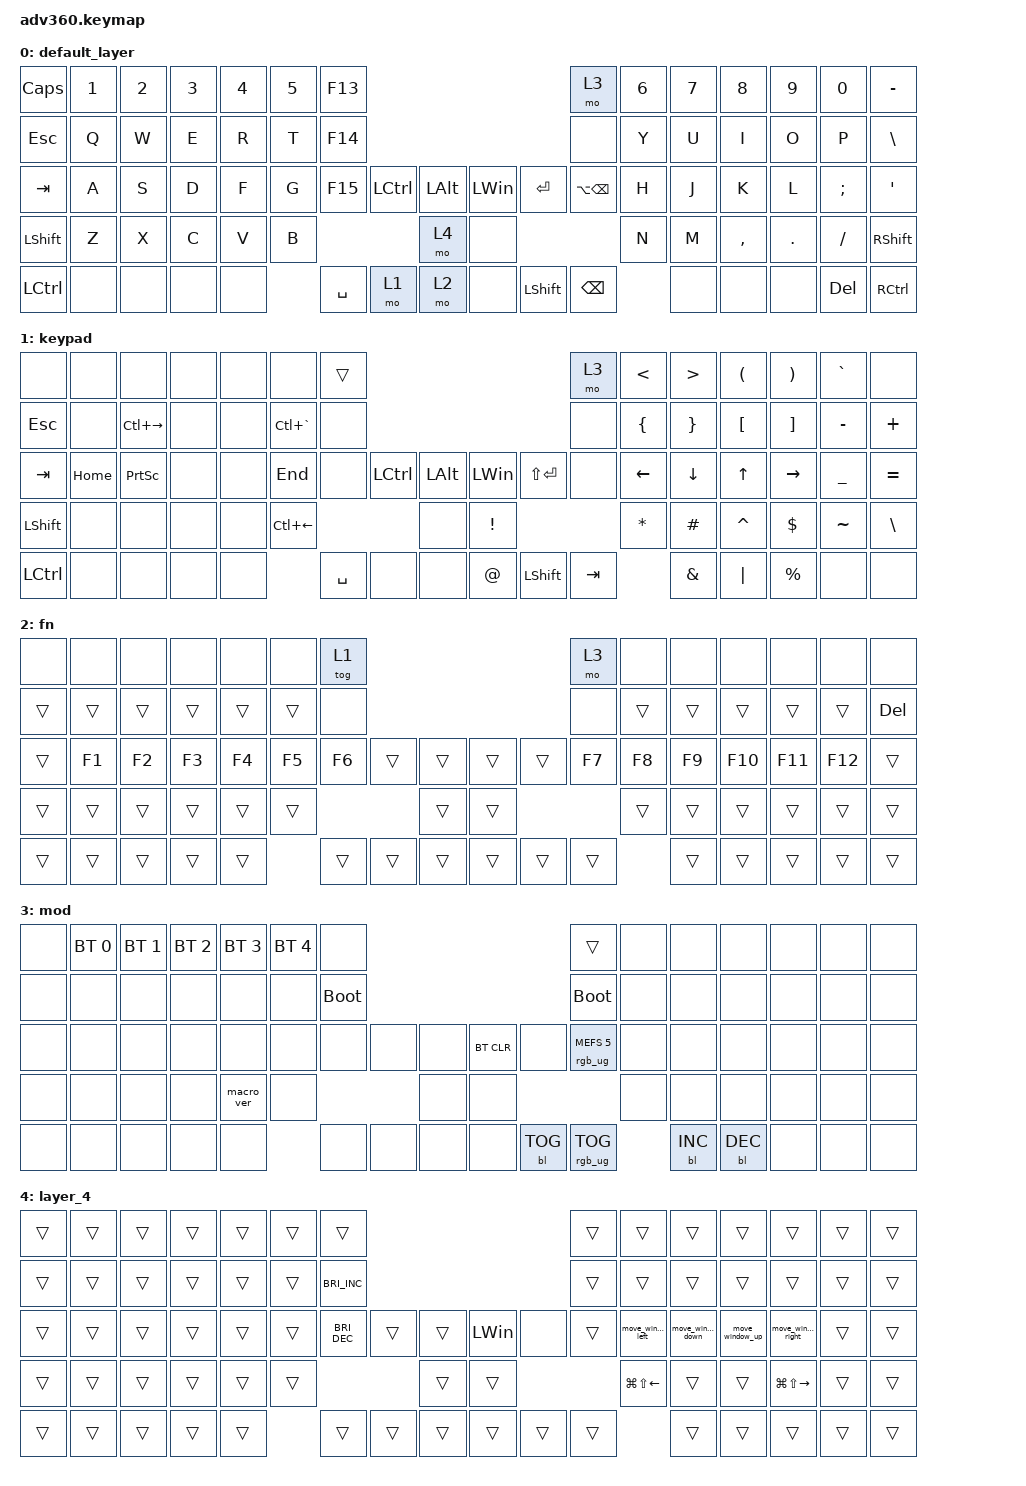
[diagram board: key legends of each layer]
#include <behaviors.dtsi>
#include <dt-bindings/zmk/backlight.h>
#include <dt-bindings/zmk/bt.h>
#include <dt-bindings/zmk/keys.h>
#include <dt-bindings/zmk/rgb.h>

/ {
    behaviors {
        #include "macros.dtsi"
      #include "version.dtsi"
      #ifndef VERSION_MACRO



        #endif

        hm: homerow_mods {
            compatible = "zmk,behavior-hold-tap";
            label = "HOMEROW_MODS";
            #binding-cells = <2>;
            tapping-term-ms = <200>;
            quick_tap_ms = <175>;
            flavor = "tap-preferred";
            bindings = <&kp>, <&kp>;
        };
    };

    combos { compatible = "zmk,combos"; };

    macros {
        move_window_right: move_window_right {
            compatible = "zmk,behavior-macro";
            #binding-cells = <0>;
            bindings = <&kp LG(RIGHT) &kp ESCAPE>;
            label = "MOVE_WINDOW_RIGHT";
        };

        move_window_left: move_window_left {
            compatible = "zmk,behavior-macro";
            #binding-cells = <0>;
            bindings = <&kp LG(LEFT) &kp ESCAPE>;
            label = "MOVE_WINDOW_LEFT";
        };

        move_window_down: move_window_down {
            compatible = "zmk,behavior-macro";
            #binding-cells = <0>;
            bindings = <&kp LG(DOWN) &kp ESCAPE>;
            label = "MOVE_WINDOW_DOWN";
        };

        move_window_up: move_window_up {
            compatible = "zmk,behavior-macro";
            #binding-cells = <0>;
            bindings = <&kp LG(UP_ARROW) &kp ESCAPE>;
            label = "MOVE_WINDOW_UP";
        };
    };

    keymap {
        compatible = "zmk,keymap";

        default_layer {
            bindings = <
&kp CAPSLOCK      &kp N1  &kp N2  &kp N3  &kp N4  &kp N5  &kp F13                                                                   &mo 3              &kp N6  &kp N7  &kp N8     &kp N9   &kp N0      &kp MINUS
&kp ESCAPE        &kp Q   &kp W   &kp E   &kp R   &kp T   &kp F14                                                                   &none              &kp Y   &kp U   &kp I      &kp O    &kp P       &kp BSLH
&kp TAB           &kp A   &kp S   &kp D   &kp F   &kp G   &kp F15            &kp LCTRL  &kp LALT      &kp LEFT_WIN  &kp ENTER       &kp LA(BACKSPACE)  &kp H   &kp J   &kp K      &kp L    &kp SEMI    &kp SQT
&kp LSHFT         &kp Z   &kp X   &kp C   &kp V   &kp B                                 &mo 4         &none                                            &kp N   &kp M   &kp COMMA  &kp DOT  &kp FSLH    &kp RSHFT
&kp LEFT_CONTROL  &none   &none   &none   &none           &kp SPACE          &mo 1      &mo 2         &none         &kp LEFT_SHIFT  &kp BACKSPACE              &none   &none      &none    &kp DELETE  &kp RIGHT_CONTROL
            >;
        };

        keypad {
            bindings = <
&none             &none     &none            &none  &none  &none          &trans                                                               &mo 3    &kp LESS_THAN   &kp GREATER_THAN  &kp LEFT_PARENTHESIS  &kp RIGHT_PARENTHESIS  &kp GRAVE  &none
&kp ESCAPE        &none     &kp LC(RIGHT)    &none  &none  &kp LC(GRAVE)  &none                                                                &none    &kp LEFT_BRACE  &kp RIGHT_BRACE   &kp LBKT              &kp RIGHT_BRACKET      &kp MINUS  &kp PLUS
&kp TAB           &kp HOME  &kp PRINTSCREEN  &none  &none  &kp END        &none      &kp LCTRL  &kp LALT      &kp LEFT_WIN     &kp LS(ENTER)   &none    &kp LEFT        &kp DOWN          &kp UP_ARROW          &kp RIGHT              &kp UNDER  &kp EQUAL
&kp LSHFT         &none     &none            &none  &none  &kp LC(LEFT)                         &none         &kp EXCLAMATION                           &kp STAR        &kp HASH          &kp CARET             &kp DOLLAR             &kp TILDE  &kp BACKSLASH
&kp LEFT_CONTROL  &none     &none            &none  &none                 &kp SPACE  &none      &none         &kp AT_SIGN      &kp LEFT_SHIFT  &kp TAB                  &kp AMPERSAND     &kp PIPE              &kp PERCENT            &none      &none
            >;
        };

        fn {
            bindings = <
&none   &none   &none   &none   &none   &none   &tog 1                                      &mo 3   &none   &none   &none    &none    &none    &none
&trans  &trans  &trans  &trans  &trans  &trans  &none                                       &none   &trans  &trans  &trans   &trans   &trans   &kp DELETE
&trans  &kp F1  &kp F2  &kp F3  &kp F4  &kp F5  &kp F6  &trans  &trans      &trans  &trans  &kp F7  &kp F8  &kp F9  &kp F10  &kp F11  &kp F12  &trans
&trans  &trans  &trans  &trans  &trans  &trans                  &trans      &trans                  &trans  &trans  &trans   &trans   &trans   &trans
&trans  &trans  &trans  &trans  &trans          &trans  &trans  &trans      &trans  &trans  &trans          &trans  &trans   &trans   &trans   &trans
            >;
        };

        mod {
            bindings = <
&none  &bt BT_SEL 0  &bt BT_SEL 1  &bt BT_SEL 2  &bt BT_SEL 3  &bt BT_SEL 4  &none                                                  &trans                  &none  &none       &none       &none  &none  &none
&none  &none         &none         &none         &none         &none         &bootloader                                            &bootloader             &none  &none       &none       &none  &none  &none
&none  &none         &none         &none         &none         &none         &none        &none  &none      &bt BT_CLR  &none       &rgb_ug RGB_MEFS_CMD 5  &none  &none       &none       &none  &none  &none
&none  &none         &none         &none         &macro_ver    &none                             &none      &none                                           &none  &none       &none       &none  &none  &none
&none  &none         &none         &none         &none                       &none        &none  &none      &none       &bl BL_TOG  &rgb_ug RGB_TOG                &bl BL_INC  &bl BL_DEC  &none  &none  &none
            >;
        };

        layer_4 {
            bindings = <
&trans  &trans  &trans  &trans  &trans  &trans  &trans                                                          &trans  &trans             &trans             &trans           &trans              &trans  &trans
&trans  &trans  &trans  &trans  &trans  &trans  &kp C_BRIGHTNESS_INC                                            &trans  &trans             &trans             &trans           &trans              &trans  &trans
&trans  &trans  &trans  &trans  &trans  &trans  &kp C_BRIGHTNESS_DEC  &trans  &trans      &kp LEFT_WIN  &none   &trans  &move_window_left  &move_window_down  &move_window_up  &move_window_right  &trans  &trans
&trans  &trans  &trans  &trans  &trans  &trans                                &trans      &trans                        &kp LG(LS(LEFT))   &trans             &trans           &kp LG(LS(RIGHT))   &trans  &trans
&trans  &trans  &trans  &trans  &trans          &trans                &trans  &trans      &trans        &trans  &trans                     &trans             &trans           &trans              &trans  &trans
            >;
        };
    };
};
